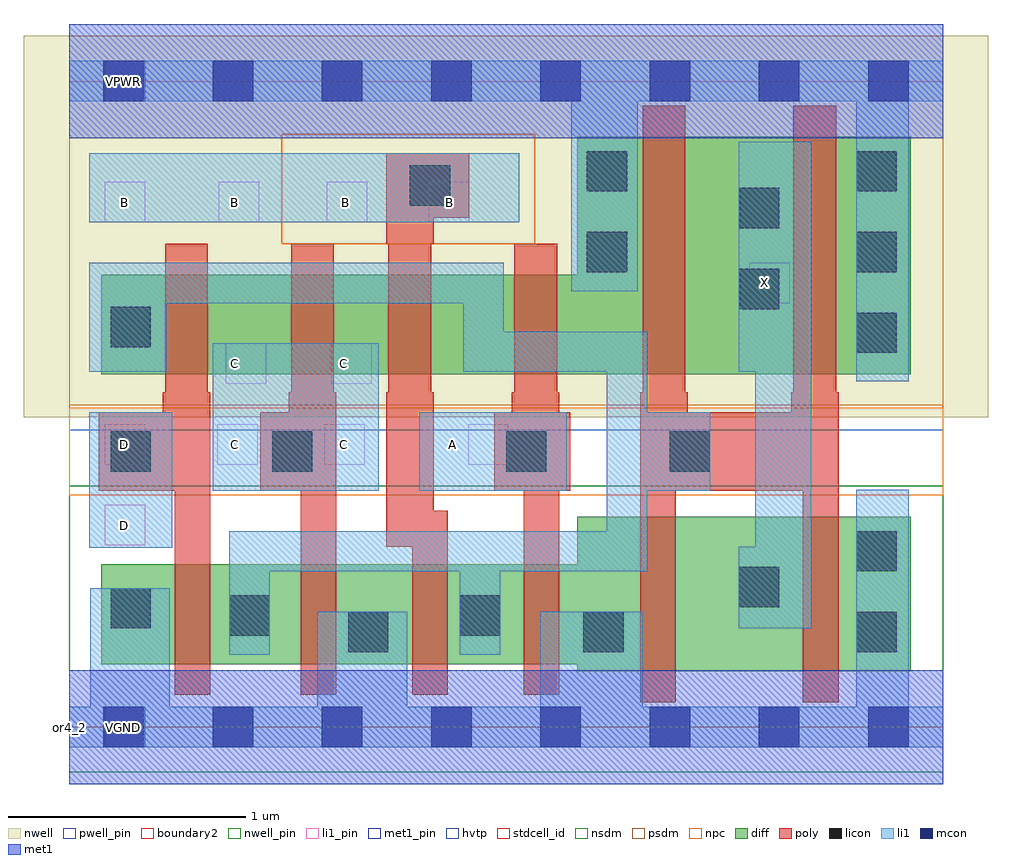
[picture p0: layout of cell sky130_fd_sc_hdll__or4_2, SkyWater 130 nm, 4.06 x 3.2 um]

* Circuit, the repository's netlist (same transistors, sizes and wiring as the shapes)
* Copyright 2020 The SkyWater PDK Authors
*
* Licensed under the Apache License, Version 2.0 (the "License");
* you may not use this file except in compliance with the License.
* You may obtain a copy of the License at
*
*     https://www.apache.org/licenses/LICENSE-2.0
*
* Unless required by applicable law or agreed to in writing, software
* distributed under the License is distributed on an "AS IS" BASIS,
* WITHOUT WARRANTIES OR CONDITIONS OF ANY KIND, either express or implied.
* See the License for the specific language governing permissions and
* limitations under the License.
*
* SPDX-License-Identifier: Apache-2.0

.SUBCKT sky130_fd_sc_hdll__or4_2 A B C D VGND VNB VPB VPWR X
*.PININFO A:I B:I C:I D:I VGND:I VNB:I VPB:I VPWR:I X:O
MMP0 VPWR A sndPA VPB sky130_fd_pr__pfet_01v8_hvt m=1 w=0.42U l=0.18U mult=1 sa=0.265
+ sb=0.265 sd=0.28 area=0.063 perim=1.14
MMP1 sndPA B sndPB VPB sky130_fd_pr__pfet_01v8_hvt m=1 w=0.42U l=0.18U mult=1 sa=0.265
+ sb=0.265 sd=0.28 area=0.063 perim=1.14
MMP2 sndPB C sndPC VPB sky130_fd_pr__pfet_01v8_hvt m=1 w=0.42U l=0.18U mult=1 sa=0.265
+ sb=0.265 sd=0.28 area=0.063 perim=1.14
MMP3 sndPC D y VPB sky130_fd_pr__pfet_01v8_hvt m=1 w=0.42U l=0.18U mult=1 sa=0.265
+ sb=0.265 sd=0.28 area=0.063 perim=1.14
MMIP4 X y VPWR VPB sky130_fd_pr__pfet_01v8_hvt m=2 w=1.0U l=0.18U mult=1 sa=0.265
+ sb=0.265 sd=0.28 area=0.063 perim=1.14
MMN0 y A VGND VNB sky130_fd_pr__nfet_01v8 m=1 w=0.42U l=0.15U mult=1 sa=0.265 sb=0.265
+ sd=0.28 area=0.063 perim=1.14
MMN1 y B VGND VNB sky130_fd_pr__nfet_01v8 m=1 w=0.42U l=0.15U mult=1 sa=0.265 sb=0.265
+ sd=0.28 area=0.063 perim=1.14
MMN2 y C VGND VNB sky130_fd_pr__nfet_01v8 m=1 w=0.42U l=0.15U mult=1 sa=0.265 sb=0.265
+ sd=0.28 area=0.063 perim=1.14
MMN3 y D VGND VNB sky130_fd_pr__nfet_01v8 m=1 w=0.42U l=0.15U mult=1 sa=0.265 sb=0.265
+ sd=0.28 area=0.063 perim=1.14
MMIN4 X y VGND VNB sky130_fd_pr__nfet_01v8 m=2 w=0.65U l=0.15U mult=1 sa=0.265
+ sb=0.265 sd=0.28 area=0.063 perim=1.14
.ENDS sky130_fd_sc_hdll__or4_2

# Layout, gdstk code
import gdstk
lib = gdstk.Library(unit=1e-6, precision=1e-09)
def R(c, l, rs):  # rectangles x0, y0, x1, y1
    for r in rs: c.add(gdstk.rectangle(r[:2], r[2:], *l))
def A(c, l, x, y, w, h, nx, ny, dx, dy):  # array of equal rectangles
    R(c, l, [(x+i*dx, y+j*dy, x+i*dx+w, y+j*dy+h) for i in range(nx) for j in range(ny)])
def P(c, l, *ps):  # polygons
    for p in ps: c.add(gdstk.Polygon(p, *l))
nwell_pin = (64, 16)
nwell = (64, 20)
diff = (65, 20)
poly = (66, 20)
licon = (66, 44)
li1_pin = (67, 16)
li1 = (67, 20)
mcon = (67, 44)
met1_pin = (68, 16)
met1 = (68, 20)
hvtp = (78, 44)
stdcell_id = (81, 4)
nsdm = (93, 44)
psdm = (94, 20)
npc = (95, 20)
pwell_pin = (122, 16)
boundary2 = (236, 0)

sky130_fd_sc_hdll__or4_2 = lib.new_cell('sky130_fd_sc_hdll__or4_2')
R(sky130_fd_sc_hdll__or4_2, nwell_pin, [(0.15,2.635,0.32,2.805)])
R(sky130_fd_sc_hdll__or4_2, nwell, [(-0.19,1.305,3.87,2.91)])
P(sky130_fd_sc_hdll__or4_2, diff, [(3.545,0.885),(2.14,0.885),(2.14,0.685),(0.135,0.685),(0.135,0.265),(2.14,0.265),(2.14,0.235),(3.545,0.235)],
  [(3.545,2.485),(2.14,2.485),(2.14,1.905),(0.135,1.905),(0.135,1.485),(3.545,1.485)])
P(sky130_fd_sc_hdll__or4_2, poly, [(0.595,1.41),(0.585,1.41),(0.585,2.035),(0.405,2.035),(0.405,1.41),(0.395,1.41),(0.395,1.325),(0.125,1.325),(0.125,0.995),(0.445,0.995),(0.445,0.135),(0.595,0.135)],
  [(1.125,1.41),(1.115,1.41),(1.115,2.035),(0.935,2.035),(0.935,1.41),(0.925,1.41),(0.925,1.325),(0.805,1.325),(0.805,0.995),(0.975,0.995),(0.975,0.135),(1.125,0.135)],
  [(1.685,2.415),(1.335,2.415),(1.335,2.035),(1.345,2.035),(1.345,1.41),(1.335,1.41),(1.335,0.76),(1.445,0.76),(1.445,0.135),(1.595,0.135),(1.595,0.91),(1.535,0.91),(1.535,1.41),(1.525,1.41),(1.525,2.035),(1.535,2.035),(1.535,2.145),(1.685,2.145)],
  [(2.11,1.325),(2.065,1.325),(2.065,1.41),(2.055,1.41),(2.055,2.035),(1.875,2.035),(1.875,1.41),(1.865,1.41),(1.865,1.325),(1.79,1.325),(1.79,0.995),(1.915,0.995),(1.915,0.135),(2.065,0.135),(2.065,0.995),(2.11,0.995)],
  [(3.24,1.41),(3.23,1.41),(3.23,2.615),(3.05,2.615),(3.05,1.41),(3.04,1.41),(3.04,1.325),(2.605,1.325),(2.605,1.41),(2.595,1.41),(2.595,2.615),(2.415,2.615),(2.415,1.41),(2.405,1.41),(2.405,0.105),(2.555,0.105),(2.555,0.995),(3.09,0.995),(3.09,0.105),(3.24,0.105)])
A(sky130_fd_sc_hdll__or4_2, licon, 3.315, 1.575, 0.17, 0.17, 1, 3, 0, 0.34)
R(sky130_fd_sc_hdll__or4_2, licon, [(1.175,0.315,1.345,0.485), (2.165,0.315,2.335,0.485), (3.315,0.315,3.485,0.485), (0.675,0.385,0.845,0.555), (1.645,0.385,1.815,0.555), (0.175,0.415,0.345,0.585), (2.82,0.505,2.99,0.675), (3.315,0.655,3.485,0.825), (0.175,1.075,0.345,1.245), (0.855,1.075,1.025,1.245), (1.84,1.075,2.01,1.245), (2.53,1.075,2.7,1.245), (0.175,1.6,0.345,1.77), (2.82,1.76,2.99,1.93), (2.18,1.915,2.35,2.085), (2.82,2.1,2.99,2.27), (1.435,2.195,1.605,2.365), (2.18,2.255,2.35,2.425)])
R(sky130_fd_sc_hdll__or4_2, li1_pin, [(0.15,0.765,0.32,0.935), (0.15,1.105,0.32,1.275), (0.625,1.105,0.795,1.275), (1.075,1.105,1.245,1.275), (1.68,1.105,1.85,1.275), (0.66,1.445,0.83,1.615), (1.105,1.445,1.275,1.615), (2.865,1.785,3.035,1.955), (0.15,2.125,0.32,2.295), (0.63,2.125,0.8,2.295), (1.085,2.125,1.255,2.295), (1.515,2.125,1.685,2.295)])
R(sky130_fd_sc_hdll__or4_2, li1, [(0.085,0.755,0.435,1.325), (0.605,0.995,1.305,1.615), (1.475,0.995,2.095,1.325), (0.085,2.125,1.895,2.415)])
P(sky130_fd_sc_hdll__or4_2, li1, [(3.68,2.805),(0,2.805),(0,2.635),(2.115,2.635),(2.115,1.835),(2.395,1.835),(2.395,2.635),(3.315,2.635),(3.315,1.455),(3.535,1.455),(3.535,2.635),(3.68,2.635)],
  [(3.68,0.085),(3.535,0.085),(3.535,1),(3.315,1),(3.315,0.085),(2.415,0.085),(2.415,0.485),(1.985,0.485),(1.985,0.085),(1.425,0.085),(1.425,0.485),(1.045,0.485),(1.045,0.085),(0.425,0.085),(0.425,0.585),(0.09,0.585),(0.09,0.085),(0,0.085),(0,-0.085),(3.68,-0.085)],
  [(2.7,1.325),(2.435,1.325),(2.435,1.665),(1.83,1.665),(1.83,1.955),(0.085,1.955),(0.085,1.495),(0.41,1.495),(0.41,1.785),(1.66,1.785),(1.66,1.495),(2.265,1.495),(2.265,0.825),(0.675,0.825),(0.675,0.305),(0.845,0.305),(0.845,0.655),(1.645,0.655),(1.645,0.305),(1.815,0.305),(1.815,0.655),(2.435,0.655),(2.435,0.995),(2.7,0.995)],
  [(3.125,2.465),(2.82,2.465),(2.82,1.495),(2.89,1.495),(2.89,0.76),(2.82,0.76),(2.82,0.415),(3.125,0.415)])
A(sky130_fd_sc_hdll__or4_2, mcon, 0.145, -0.085, 0.17, 0.17, 8, 2, 0.46, 2.72)
R(sky130_fd_sc_hdll__or4_2, met1_pin, [(0.15,-0.085,0.32,0.085), (0.15,2.635,0.32,2.805)])
R(sky130_fd_sc_hdll__or4_2, met1, [(0,-0.24,3.68,0.24), (0,2.48,3.68,2.96)])
R(sky130_fd_sc_hdll__or4_2, hvtp, [(0,1.25,3.68,2.72)])
R(sky130_fd_sc_hdll__or4_2, stdcell_id, [(0,0,3.68,2.72)])
R(sky130_fd_sc_hdll__or4_2, nsdm, [(0,-0.19,3.68,1.015)])
P(sky130_fd_sc_hdll__or4_2, psdm, [(3.68,2.91),(1.96,2.91),(1.96,2.035),(0.895,2.035),(0.895,2.495),(1.96,2.495),(1.96,2.91),(0,2.91),(0,1.355),(3.68,1.355)])
R(sky130_fd_sc_hdll__or4_2, npc, [(0,0.975,3.68,1.345), (0.895,2.035,1.96,2.495)])
R(sky130_fd_sc_hdll__or4_2, pwell_pin, [(0.15,-0.085,0.32,0.085)])
R(sky130_fd_sc_hdll__or4_2, boundary2, [(0,0,3.68,2.72)])
sky130_fd_sc_hdll__or4_2.add(gdstk.Label('B', (1.6,2.21), layer=67, texttype=5))
sky130_fd_sc_hdll__or4_2.add(gdstk.Label('C', (1.155,1.19), layer=67, texttype=5))
sky130_fd_sc_hdll__or4_2.add(gdstk.Label('A', (1.615,1.19), layer=67, texttype=5))
sky130_fd_sc_hdll__or4_2.add(gdstk.Label('X', (2.93,1.87), layer=67, texttype=5))
sky130_fd_sc_hdll__or4_2.add(gdstk.Label('C', (0.695,1.19), layer=67, texttype=5))
sky130_fd_sc_hdll__or4_2.add(gdstk.Label('B', (1.165,2.21), layer=67, texttype=5))
sky130_fd_sc_hdll__or4_2.add(gdstk.Label('B', (0.695,2.21), layer=67, texttype=5))
sky130_fd_sc_hdll__or4_2.add(gdstk.Label('C', (0.695,1.53), layer=67, texttype=5))
sky130_fd_sc_hdll__or4_2.add(gdstk.Label('B', (0.235,2.21), layer=67, texttype=5))
sky130_fd_sc_hdll__or4_2.add(gdstk.Label('C', (1.155,1.53), layer=67, texttype=5))
sky130_fd_sc_hdll__or4_2.add(gdstk.Label('D', (0.235,1.19), layer=67, texttype=5))
sky130_fd_sc_hdll__or4_2.add(gdstk.Label('D', (0.235,0.85), layer=67, texttype=5))
sky130_fd_sc_hdll__or4_2.add(gdstk.Label('VPWR', (0.23,2.72), layer=68, texttype=5))
sky130_fd_sc_hdll__or4_2.add(gdstk.Label('VGND', (0.23,0), layer=68, texttype=5))
sky130_fd_sc_hdll__or4_2.add(gdstk.Label('VPB', (0.23,2.72), layer=64, texttype=5))
sky130_fd_sc_hdll__or4_2.add(gdstk.Label('VNB', (0.23,0), layer=64, texttype=59))
sky130_fd_sc_hdll__or4_2.add(gdstk.Label('or4_2', (0,0), layer=83, texttype=44))

lib.write_gds('sky130_fd_sc_hdll__or4_2.gds')
